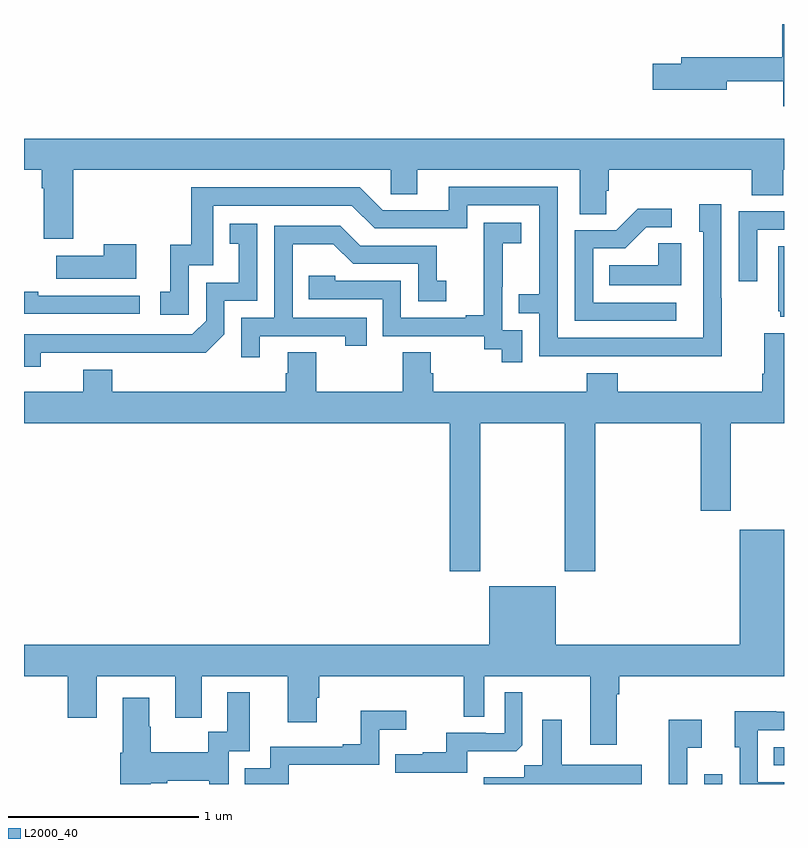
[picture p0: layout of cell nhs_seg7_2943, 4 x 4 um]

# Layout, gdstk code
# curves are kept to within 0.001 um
import gdstk
lib = gdstk.Library(unit=1e-6, precision=1e-09)
def R(c, l, rs):  # rectangles x0, y0, x1, y1
    for r in rs: c.add(gdstk.rectangle(r[:2], r[2:], *l))
def P(c, l, *ps):  # polygons
    for p in ps: c.add(gdstk.Polygon(p, *l))
L2000_40 = (2000, 40)

nhs_seg7_2943 = lib.new_cell('nhs_seg7_2943')
R(nhs_seg7_2943, L2000_40, [(302.58,1048,302.676,1048.051), (302.947,1048.098,303,1048.194)])
P(nhs_seg7_2943, L2000_40, [(303,1052),(302.99,1052),(302.99,1051.826),(302.459,1051.826),(302.459,1051.79),(302.31,1051.79),(302.31,1051.655),(302.698,1051.655),(302.698,1051.698),(302.995,1051.698),(302.995,1051.566),(303,1051.566)],
  [(299.258,1051.232),(300.93,1051.232),(300.93,1051.105),(301.069,1051.105),(301.069,1051.232),(301.925,1051.232),(301.925,1051),(302.064,1051),(302.064,1051.123),(302.078,1051.123),(302.078,1051.232),(302.831,1051.232),(302.831,1051.099),(302.996,1051.099),(302.996,1051.232),(303,1051.232),(303,1051.396),(299,1051.396),(299,1051.232),(299.093,1051.232),(299.093,1051.136),(299.105,1051.136),(299.105,1050.87),(299.258,1050.87)],
  [(302.673,1050.557),(302.67,1050.557),(302.67,1051.051),(302.555,1051.051),(302.555,1050.906),(302.574,1050.906),(302.574,1050.348),(301.809,1050.348),(301.809,1051.143),(301.235,1051.143),(301.235,1051.02),(300.888,1051.02),(300.768,1051.14),(299.881,1051.14),(299.881,1050.838),(299.771,1050.838),(299.771,1050.591),(299.718,1050.591),(299.718,1050.471),(299.868,1050.471),(299.868,1050.729),(299.997,1050.729),(299.997,1051.044),(300.726,1051.044),(300.846,1050.924),(301.332,1050.924),(301.332,1051.047),(301.713,1051.047),(301.713,1050.578),(301.603,1050.578),(301.603,1050.477),(301.713,1050.477),(301.713,1050.252),(302.673,1050.251)],
  [(302.434,1050.534),(301.995,1050.534),(301.995,1050.819),(302.164,1050.819),(302.275,1050.93),(302.41,1050.93),(302.41,1051.028),(302.231,1051.028),(302.118,1050.915),(301.899,1050.915),(301.899,1050.438),(302.434,1050.438)],
  [(302.859,1050.918),(303,1050.918),(303,1051.014),(302.763,1051.014),(302.763,1050.645),(302.859,1050.645)],
  [(301.623,1050.387),(301.518,1050.387),(301.518,1050.617),(301.52,1050.617),(301.52,1050.845),(301.618,1050.845),(301.618,1050.955),(301.42,1050.955),(301.42,1050.749),(301.421,1050.749),(301.421,1050.466),(301.325,1050.466),(301.325,1050.453),(300.984,1050.453),(300.984,1050.648),(300.639,1050.648),(300.639,1050.675),(300.499,1050.675),(300.499,1050.552),(300.888,1050.552),(300.888,1050.357),(301.422,1050.357),(301.422,1050.289),(301.515,1050.289),(301.515,1050.219),(301.623,1050.219)],
  [(299.088,1050.27),(299.956,1050.269),(300.054,1050.366),(300.054,1050.543),(300.228,1050.543),(300.228,1050.949),(300.082,1050.949),(300.082,1050.843),(300.131,1050.843),(300.131,1050.639),(299.958,1050.639),(299.958,1050.438),(299.886,1050.366),(299,1050.366),(299,1050.197),(299.088,1050.197)],
  [(300.241,1050.357),(300.692,1050.357),(300.692,1050.306),(300.803,1050.306),(300.803,1050.453),(300.414,1050.453),(300.414,1050.842),(300.628,1050.842),(300.732,1050.738),(301.074,1050.738),(301.074,1050.54),(301.222,1050.54),(301.222,1050.649),(301.173,1050.649),(301.173,1050.834),(300.769,1050.834),(300.664,1050.939),(300.318,1050.939),(300.318,1050.453),(300.144,1050.453),(300.144,1050.246),(300.241,1050.246)],
  [(302.458,1050.845),(302.337,1050.845),(302.337,1050.73),(302.08,1050.73),(302.08,1050.626),(302.458,1050.626)],
  [(299.59,1050.841),(299.42,1050.841),(299.42,1050.781),(299.171,1050.781),(299.171,1050.659),(299.59,1050.659)],
  [(303,1050.829),(302.969,1050.829),(302.969,1050.489),(302.981,1050.489),(302.981,1050.458),(303,1050.458)],
  [(299.608,1050.57),(299.075,1050.57),(299.075,1050.59),(299,1050.59),(299,1050.474),(299.608,1050.474)],
  [(301.401,1049.9),(301.846,1049.9),(301.846,1049.121),(302.006,1049.121),(302.006,1049.9),(302.561,1049.9),(302.561,1049.439),(302.721,1049.439),(302.721,1049.9),(303,1049.9),(303,1050.373),(302.897,1050.373),(302.897,1050.16),(302.885,1050.16),(302.885,1050.064),(302.126,1050.064),(302.126,1050.163),(301.961,1050.163),(301.961,1050.064),(301.154,1050.064),(301.154,1050.162),(301.141,1050.162),(301.141,1050.272),(300.994,1050.272),(300.994,1050.064),(300.537,1050.064),(300.537,1050.272),(300.389,1050.272),(300.389,1050.162),(300.377,1050.162),(300.377,1050.064),(299.465,1050.064),(299.465,1050.181),(299.312,1050.181),(299.312,1050.064),(299,1050.064),(299,1049.9),(301.241,1049.9),(301.241,1049.121),(301.401,1049.121)],
  [(299,1048.568),(299.231,1048.568),(299.231,1048.35),(299.383,1048.35),(299.383,1048.568),(299.795,1048.568),(299.795,1048.35),(299.935,1048.35),(299.935,1048.568),(300.389,1048.568),(300.389,1048.326),(300.541,1048.326),(300.541,1048.455),(300.554,1048.455),(300.554,1048.568),(301.314,1048.568),(301.314,1048.354),(301.422,1048.354),(301.422,1048.568),(301.979,1048.568),(301.979,1048.206),(302.119,1048.206),(302.119,1048.472),(302.132,1048.472),(302.132,1048.568),(303,1048.568),(303,1049.338),(302.768,1049.338),(302.768,1048.732),(301.798,1048.732),(301.798,1049.041),(301.448,1049.041),(301.448,1048.732),(299,1048.732)],
  [(301.333,1048.172),(301.591,1048.172),(301.623,1048.203),(301.623,1048.483),(301.53,1048.483),(301.53,1048.266),(301.43,1048.266),(301.43,1048.269),(301.223,1048.269),(301.223,1048.168),(301.099,1048.168),(301.099,1048.156),(300.955,1048.156),(300.955,1048.059),(301.333,1048.059)],
  [(299.667,1048.004),(299.755,1048.004),(299.755,1048.016),(299.975,1048.016),(299.975,1048),(300.078,1048),(300.078,1048.173),(300.187,1048.173),(300.187,1048.483),(300.071,1048.483),(300.071,1048.274),(299.97,1048.274),(299.97,1048.168),(299.667,1048.168),(299.667,1048.302),(299.659,1048.302),(299.659,1048.453),(299.519,1048.453),(299.519,1048.164),(299.507,1048.164),(299.507,1048),(299.667,1048)],
  [(300.393,1048.101),(300.87,1048.101),(300.87,1048.286),(301.012,1048.286),(301.012,1048.385),(300.772,1048.385),(300.772,1048.21),(300.677,1048.21),(300.677,1048.197),(300.297,1048.197),(300.297,1048.083),(300.163,1048.083),(300.163,1048),(300.393,1048)],
  [(303,1048.008),(302.862,1048.008),(302.862,1048.284),(303,1048.284),(303,1048.38),(302.959,1048.38),(302.959,1048.382),(302.741,1048.382),(302.741,1048.194),(302.766,1048.194),(302.766,1048),(303,1048)],
  [(302.251,1048.102),(301.831,1048.102),(301.831,1048.339),(301.727,1048.339),(301.727,1048.1),(301.632,1048.1),(301.632,1048.036),(301.421,1048.036),(301.421,1048),(302.251,1048)],
  [(302.49,1048.19),(302.566,1048.19),(302.566,1048.339),(302.393,1048.339),(302.393,1048),(302.49,1048)])

lib.write_gds('nhs_seg7_2943.gds')
